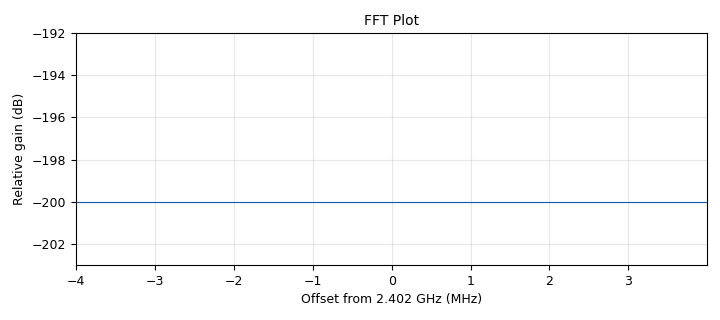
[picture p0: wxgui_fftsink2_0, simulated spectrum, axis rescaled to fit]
<?xml version='1.0' encoding='utf-8'?>
<?grc format='1' created='3.7.12'?>
<flow_graph>
<block>
<key>options</key>
<param><key>id</key><value>top_block</value></param>
<param><key>generate_options</key><value>wx_gui</value></param>
</block>
<block>
<key>variable</key>
<param><key>id</key><value>baud_rate</value></param>
<param><key>value</key><value>1e6</value></param>
</block>
<block>
<key>variable</key>
<param><key>id</key><value>center_freq</value></param>
<param><key>value</key><value>2.402e9</value></param>
</block>
<block>
<key>variable</key>
<param><key>id</key><value>samp_rate</value></param>
<param><key>value</key><value>8e6</value></param>
</block>
<block>
<key>variable</key>
<param><key>id</key><value>sps</value></param>
<param><key>value</key><value>10</value></param>
</block>
<block>
<key>blocks_delay</key>
<param><key>id</key><value>blocks_delay_0</value></param>
<param><key>delay</key><value>15</value></param>
<param><key>_enabled</key><value>2</value></param>
<param><key>type</key><value>complex</value></param>
</block>
<block>
<key>blocks_file_sink</key>
<param><key>id</key><value>blocks_file_sink_0</value></param>
<param><key>_enabled</key><value>0</value></param>
<param><key>file</key><value>fakeX_lionel_8M_2G4.dat</value></param>
<param><key>type</key><value>complex</value></param>
</block>
<block>
<key>blocks_float_to_complex</key>
<param><key>id</key><value>blocks_float_to_complex_0</value></param>
</block>
<block>
<key>blocks_multiply_const_vxx</key>
<param><key>id</key><value>blocks_multiply_const_vxx_0</value></param>
<param><key>const</key><value>.8</value></param>
<param><key>type</key><value>complex</value></param>
</block>
<block>
<key>blocks_multiply_xx</key>
<param><key>id</key><value>blocks_multiply_xx_0</value></param>
<param><key>type</key><value>complex</value></param>
</block>
<block>
<key>blocks_packed_to_unpacked_xx</key>
<param><key>id</key><value>blocks_packed_to_unpacked_xx_0</value></param>
<param><key>bits_per_chunk</key><value>1</value></param>
<param><key>endianness</key><value>gr.GR_MSB_FIRST</value></param>
<param><key>type</key><value>byte</value></param>
</block>
<block>
<key>blocks_repeat</key>
<param><key>id</key><value>blocks_repeat_0</value></param>
<param><key>interp</key><value>sps</value></param>
<param><key>type</key><value>byte</value></param>
</block>
<block>
<key>blocks_throttle</key>
<param><key>id</key><value>blocks_throttle_0</value></param>
<param><key>_enabled</key><value>2</value></param>
<param><key>samples_per_second</key><value>samp_rate</value></param>
<param><key>type</key><value>complex</value></param>
</block>
<block>
<key>blocks_uchar_to_float</key>
<param><key>id</key><value>blocks_uchar_to_float_0</value></param>
</block>
<block>
<key>blocks_vector_source_x</key>
<param><key>id</key><value>blocks_vector_source_x_0</value></param>
<param><key>type</key><value>byte</value></param>
<param><key>repeat</key><value>True</value></param>
<param><key>vector</key><value>(
0x55,0x11,0x27,0x21,0x94,0x2A,0x1B,0x95,0x51,0x00,0x00,0x7F,0xFF,0xB7,0xE1,0x5B,0x4A,0x75,0x47,0x2D,0x76,0x14,0xAA,0xBA,0xA2,0xF5,0x55,0x55,0x55,0x55,0x56,0xD6,0x22,0x4E,0x43,0x28,0x54,0x06,
0x00,0x00,0x00,0x00,0x00,0x00,0x00,0x00,0x00,0x00,0x00,0x00,0x00,0x00,0x00,0x00,0x00,0x00,0x00,0x00,0x00,0x00,0x00,0x00,0x00,0x00,0x00,0x00,0x00,0x00,0x00,0x00,0x00,0x00,0x00,0x00,0x00,
0x00,0x00,0x00,0x00,0x00,0x00,0x00,0x00,0x00,0x00,0x00,0x00,0x00,0x00,0x00,0x00,0x00,0x00,0x00,0x00,0x00,0x00,0x00,0x00,0x00,0x00,0x00,0x00,0x00,0x00,0x00,0x00,0x00,0x00,0x00,0x00,0x00,
0x00,0x00,0x00,0x00,0x00,0x00,0x00,0x00,0x00,0x00,0x00,0x00,0x00,0x00,0x00,0x00,0x00,0x00,0x00,0x00,0x00,0x00,0x00,0x00,0x00,0x00,0x00,0x00,0x00,0x00,0x00,0x00,0x00,0x00,0x00,0x00,0x00,
0x00,0x00,0x00,0x00,0x00,0x00,0x00,0x00,0x00,0x00,0x00,0x00,0x00,0x00,0x00,0x00,0x00,0x00,0x00,0x00,0x00,0x00,0x00,0x00,0x00,0x00,0x00,0x00,0x00,0x00,0x00,0x00,0x00,0x00,0x00,0x00,0x00,
0x00,0x00,0x00,0x00,0x00,0x00,0x00,0x00,0x00,0x00,0x00,0x00,0x00,0x00,0x00,0x00,0x00,0x00,0x00,0x00,0x00,0x00,0x00,0x00,0x00,0x00,0x00,0x00,0x00,0x00,0x00,0x00,0x00,0x00,0x00,0x00,0x00,
0x00,0x00,0x00,0x00,0x00,0x00,0x00,0x00,0x00,0x00,0x00,0x00,0x00,0x00,0x00,0x00,0x00,0x00,0x00,0x00,0x00,0x00,0x00,0x00,0x00,0x00,0x00,0x00,0x00,0x00,0x00,0x00,0x00,0x00,0x00,0x00,0x00,
0x00,0x00,0x00,0x00,0x00,0x00,0x00,0x00,0x00,0x00,0x00,0x00,0x00,0x00,0x00,0x00,0x00,0x00,0x00,0x00,0x00,0x00,0x00,0x00,0x00,0x00,0x00,0x00,0x00,0x00,0x00,0x00,0x00,0x00,0x00,0x00,0x00,
0x00,0x00,0x00,0x00,0x00,0x00,0x00,0x00,0x00,0x00,0x00,0x00,0x00,0x00,0x00,0x00,0x00,0x00,0x00,0x00,0x00,0x00,0x00,0x00,0x00,0x00,0x00,0x00,0x00,0x00,0x00,0x00,0x00,0x00,0x00,0x00,0x00,
0x00,0x00,0x00,0x00,0x00,0x00,0x00,0x00,0x00,0x00,0x00,0x00,0x00,0x00,0x00,0x00,0x00,0x00,0x00,0x00,0x00,0x00,0x00,0x00,0x00,0x00,0x00,0x00,0x00,0x00,0x00,0x00,0x00,0x00,0x00,0x00,0x00,
0x00,0x00,0x00,0x00,0x00,0x00,0x00,0x00,0x00,0x00,0x00,0x00,0x00,0x00,0x00,0x00,0x00,0x00,0x00,0x00,0x00,0x00,0x00,0x00,0x00,0x00,0x00,0x00,0x00,0x00,0x00,0x00,0x00,0x00,0x00,0x00,0x00,
0x00,0x00,0x00,0x00,0x00,0x00,0x00,0x00,0x00,0x00,0x00,0x00,0x00,0x00,0x00,0x00,0x00,0x00,0x00,0x00,0x00,0x00,0x00,0x00,0x00,0x00,0x00,0x00,0x00,0x00,0x00,0x00,0x00,0x00,0x00,0x00,0x00,
0x00,0x00,0x00,0x00,0x00,0x00,0x00,0x00,0x00,0x00,0x00,0x00,0x00,0x00,0x00,0x00,0x00,0x00,0x00,0x00,0x00,0x00,0x00,0x00,0x00,0x00,0x00,0x00,0x00,0x00,0x00,0x00,0x00,0x00,0x00,0x00,0x00,
0x55,0x11,0x27,0x21,0x94,0x2A,0x18,0x95,0x51,0x02,0x80,0x7D,0x7F,0xC6,0xAB,0xB5,0x5D,0x6C,0x9C,0x2A,0xAA,0x92,0xC5,0x55,0x35,0xD0,0x55,0x55,0x55,0x55,0x7D,0xFC,0x44,0x9C,0x86,0x50,0xA8,0x00,

0x00,0x00,0x00,0x00,0x00,0x00,0x00,0x00,0x00,0x00,0x00,0x00,0x00,0x00,0x00,0x00,0x00,0x00,0x00,0x00,0x00,0x00,0x00,0x00,0x00,0x00,0x00,0x00,0x00,0x00,0x00,0x00,0x00,0x00,0x00,0x00,0x00,
0x00,0x00,0x00,0x00,0x00,0x00,0x00,0x00,0x00,0x00,0x00,0x00,0x00,0x00,0x00,0x00,0x00,0x00,0x00,0x00,0x00,0x00,0x00,0x00,0x00,0x00,0x00,0x00,0x00,0x00,0x00,0x00,0x00,0x00,0x00,0x00,0x00,
0x00,0x00,0x00,0x00,0x00,0x00,0x00,0x00,0x00,0x00,0x00,0x00,0x00,0x00,0x00,0x00,0x00,0x00,0x00,0x00,0x00,0x00,0x00,0x00,0x00,0x00,0x00,0x00,0x00,0x00,0x00,0x00,0x00,0x00,0x00,0x00,0x00,
0x00,0x00,0x00,0x00,0x00,0x00,0x00,0x00,0x00,0x00,0x00,0x00,0x00,0x00,0x00,0x00,0x00,0x00,0x00,0x00,0x00,0x00,0x00,0x00,0x00,0x00,0x00,0x00,0x00,0x00,0x00,0x00,0x00,0x00,0x00,0x00,0x00,
0x00,0x00,0x00,0x00,0x00,0x00,0x00,0x00,0x00,0x00,0x00,0x00,0x00,0x00,0x00,0x00,0x00,0x00,0x00,0x00,0x00,0x00,0x00,0x00,0x00,0x00,0x00,0x00,0x00,0x00,0x00,0x00,0x00,0x00,0x00,0x00,0x00,
0x00,0x00,0x00,0x00,0x00,0x00,0x00,0x00,0x00,0x00,0x00,0x00,0x00,0x00,0x00,0x00,0x00,0x00,0x00,0x00,0x00,0x00,0x00,0x00,0x00,0x00,0x00,0x00,0x00,0x00,0x00,0x00,0x00,0x00,0x00,0x00,0x00,
0x00,0x00,0x00,0x00,0x00,0x00,0x00,0x00,0x00,0x00,0x00,0x00,0x00,0x00,0x00,0x00,0x00,0x00,0x00,0x00,0x00,0x00,0x00,0x00,0x00,0x00,0x00,0x00,0x00,0x00,0x00,0x00,0x00,0x00,0x00,0x00,0x00,
0x00,0x00,0x00,0x00,0x00,0x00,0x00,0x00,0x00,0x00,0x00,0x00,0x00,0x00,0x00,0x00,0x00,0x00,0x00,0x00,0x00,0x00,0x00,0x00,0x00,0x00,0x00,0x00,0x00,0x00,0x00,0x00,0x00,0x00,0x00,0x00,0x00,
0x00,0x00,0x00,0x00,0x00,0x00,0x00,0x00,0x00,0x00,0x00,0x00,0x00,0x00,0x00,0x00,0x00,0x00,0x00,0x00,0x00,0x00,0x00,0x00,0x00,0x00,0x00,0x00,0x00,0x00,0x00,0x00,0x00,0x00,0x00,0x00,0x00,
0x00,0x00,0x00,0x00,0x00,0x00,0x00,0x00,0x00,0x00,0x00,0x00,0x00,0x00,0x00,0x00,0x00,0x00,0x00,0x00,0x00,0x00,0x00,0x00,0x00,0x00,0x00,0x00,0x00,0x00,0x00,0x00,0x00,0x00,0x00,0x00,0x00,
0x00,0x00,0x00,0x00,0x00,0x00,0x00,0x00,0x00,0x00,0x00,0x00,0x00,0x00,0x00,0x00,0x00,0x00,0x00,0x00,0x00,0x00,0x00,0x00,0x00,0x00,0x00,0x00,0x00,0x00,0x00,0x00,0x00,0x00,0x00,0x00,0x00,
0x00,0x00,0x00,0x00,0x00,0x00,0x00,0x00,0x00,0x00,0x00,0x00,0x00,0x00,0x00,0x00,0x00,0x00,0x00,0x00,0x00,0x00,0x00,0x00,0x00,0x00,0x00,0x00,0x00,0x00,0x00,0x00,0x00,0x00,0x00,0x00,0x00,
0x00,0x00,0x00,0x00,0x00,0x00,0x00,0x00,0x00,0x00,0x00,0x00,0x00,0x00,0x00,0x00,0x00,0x00,0x00,0x00,0x00,0x00,0x00,0x00,0x00,0x00,0x00,0x00,0x00,0x00,0x00,0x00,0x00,0x00,0x00,0x00,0x00,
0x00,0x00,0x00,0x00,0x00,0x00,0x00,0x00,0x00,0x00,0x00,0x00,0x00,0x00,0x00,0x00,0x00,0x00,0x00,0x00,0x00,0x00,0x00,0x00,0x00,0x00,0x00,0x00,0x00,0x00,0x00,0x00,0x00,0x00,0x00,0x00,0x00,
0x00,0x00,0x00,0x00,0x00,0x00,0x00,0x00,0x00,0x00,0x00,0x00,0x00,0x00,0x00,0x00,0x00,0x00,0x00,0x00,0x00,0x00,0x00,0x00,0x00,0x00,0x00,0x00,0x00,0x00,0x00,0x00,0x00,0x00,0x00,0x00,0x00,
0x00,0x00,0x00,0x00,0x00,0x00,0x00,0x00,0x00,0x00,0x00,0x00,0x00,0x00,0x00,0x00,0x00,0x00,0x00,0x00,0x00,0x00,0x00,0x00,0x00,0x00,0x00,0x00,0x00,0x00,0x00,0x00,0x00,0x00,0x00,0x00,0x00,
0x00,0x00,0x00,0x00,0x00,0x00,0x00,0x00,0x00,0x00,0x00,0x00,0x00,0x00,0x00,0x00,0x00,0x00,0x00,0x00,0x00,0x00,0x00,0x00,0x00,0x00,0x00,0x00,0x00,0x00,0x00,0x00,0x00,0x00,0x00,0x00,0x00,
0x00,0x00,0x00,0x00,0x00,0x00,0x00,0x00,0x00,0x00,0x00,0x00,0x00,0x00,0x00,0x00,0x00,0x00,0x00,0x00,0x00,0x00,0x00,0x00,0x00,0x00,0x00,0x00,0x00,0x00,0x00,0x00,0x00,0x00,0x00,0x00,0x00,
0x00,0x00,0x00,0x00,0x00,0x00,0x00,0x00,0x00,0x00,0x00,0x00,0x00,0x00,0x00,0x00,0x00,0x00,0x00,0x00,0x00,0x00,0x00,0x00,0x00,0x00,0x00,0x00,0x00,0x00,0x00,0x00,0x00,0x00,0x00,0x00,0x00,
0x00,0x00,0x00,0x00,0x00,0x00,0x00,0x00,0x00,0x00,0x00,0x00,0x00,0x00,0x00,0x00,0x00,0x00,0x00,0x00,0x00,0x00,0x00,0x00,0x00,0x00,0x00,0x00,0x00,0x00,0x00,0x00,0x00,0x00,0x00,0x00,0x00,
0x00,0x00,0x00,0x00,0x00,0x00,0x00,0x00,0x00,0x00,0x00,0x00,0x00,0x00,0x00,0x00,0x00,0x00,0x00,0x00,0x00,0x00,0x00,0x00,0x00,0x00,0x00,0x00,0x00,0x00,0x00,0x00,0x00,0x00,0x00,0x00,0x00,
0x00,0x00,0x00,0x00,0x00,0x00,0x00,0x00,0x00,0x00,0x00,0x00,0x00,0x00,0x00,0x00,0x00,0x00,0x00,0x00,0x00,0x00,0x00,0x00,0x00,0x00,0x00,0x00,0x00,0x00,0x00,0x00,0x00,0x00,0x00,0x00,0x00,
0x00,0x00,0x00,0x00,0x00,0x00,0x00,0x00,0x00,0x00,0x00,0x00,0x00,0x00,0x00,0x00,0x00,0x00,0x00,0x00,0x00,0x00,0x00,0x00,0x00,0x00,0x00,0x00,0x00,0x00,0x00,0x00,0x00,0x00,0x00,0x00,0x00,
)
</value></param>
</block>
<block>
<key>blocks_vector_source_x</key>
<param><key>id</key><value>blocks_vector_source_x_1</value></param>
<param><key>type</key><value>byte</value></param>
<param><key>repeat</key><value>True</value></param>
<param><key>vector</key><value>(
0xff,0xff,0xff,0xff,0xff,0xff,0xff,0xff,0xff,0xff,0xff,0xff,0xff,0xff,0xff,0xff,0xff,0xff,0xff,0xff,0xff,0xff,0xff,0xff,0xff,0xff,0xff,0xff,0xff,0xff,0xff,0xff,0xff,0xff,0xff,0xff,0xff,0xff,
0x00,0x00,0x00,0x00,0x00,0x00,0x00,0x00,0x00,0x00,0x00,0x00,0x00,0x00,0x00,0x00,0x00,0x00,0x00,0x00,0x00,0x00,0x00,0x00,0x00,0x00,0x00,0x00,0x00,0x00,0x00,0x00,0x00,0x00,0x00,0x00,0x00,
0x00,0x00,0x00,0x00,0x00,0x00,0x00,0x00,0x00,0x00,0x00,0x00,0x00,0x00,0x00,0x00,0x00,0x00,0x00,0x00,0x00,0x00,0x00,0x00,0x00,0x00,0x00,0x00,0x00,0x00,0x00,0x00,0x00,0x00,0x00,0x00,0x00,
0x00,0x00,0x00,0x00,0x00,0x00,0x00,0x00,0x00,0x00,0x00,0x00,0x00,0x00,0x00,0x00,0x00,0x00,0x00,0x00,0x00,0x00,0x00,0x00,0x00,0x00,0x00,0x00,0x00,0x00,0x00,0x00,0x00,0x00,0x00,0x00,0x00,
0x00,0x00,0x00,0x00,0x00,0x00,0x00,0x00,0x00,0x00,0x00,0x00,0x00,0x00,0x00,0x00,0x00,0x00,0x00,0x00,0x00,0x00,0x00,0x00,0x00,0x00,0x00,0x00,0x00,0x00,0x00,0x00,0x00,0x00,0x00,0x00,0x00,
0x00,0x00,0x00,0x00,0x00,0x00,0x00,0x00,0x00,0x00,0x00,0x00,0x00,0x00,0x00,0x00,0x00,0x00,0x00,0x00,0x00,0x00,0x00,0x00,0x00,0x00,0x00,0x00,0x00,0x00,0x00,0x00,0x00,0x00,0x00,0x00,0x00,
0x00,0x00,0x00,0x00,0x00,0x00,0x00,0x00,0x00,0x00,0x00,0x00,0x00,0x00,0x00,0x00,0x00,0x00,0x00,0x00,0x00,0x00,0x00,0x00,0x00,0x00,0x00,0x00,0x00,0x00,0x00,0x00,0x00,0x00,0x00,0x00,0x00,
0x00,0x00,0x00,0x00,0x00,0x00,0x00,0x00,0x00,0x00,0x00,0x00,0x00,0x00,0x00,0x00,0x00,0x00,0x00,0x00,0x00,0x00,0x00,0x00,0x00,0x00,0x00,0x00,0x00,0x00,0x00,0x00,0x00,0x00,0x00,0x00,0x00,
0x00,0x00,0x00,0x00,0x00,0x00,0x00,0x00,0x00,0x00,0x00,0x00,0x00,0x00,0x00,0x00,0x00,0x00,0x00,0x00,0x00,0x00,0x00,0x00,0x00,0x00,0x00,0x00,0x00,0x00,0x00,0x00,0x00,0x00,0x00,0x00,0x00,
0x00,0x00,0x00,0x00,0x00,0x00,0x00,0x00,0x00,0x00,0x00,0x00,0x00,0x00,0x00,0x00,0x00,0x00,0x00,0x00,0x00,0x00,0x00,0x00,0x00,0x00,0x00,0x00,0x00,0x00,0x00,0x00,0x00,0x00,0x00,0x00,0x00,
0x00,0x00,0x00,0x00,0x00,0x00,0x00,0x00,0x00,0x00,0x00,0x00,0x00,0x00,0x00,0x00,0x00,0x00,0x00,0x00,0x00,0x00,0x00,0x00,0x00,0x00,0x00,0x00,0x00,0x00,0x00,0x00,0x00,0x00,0x00,0x00,0x00,
0x00,0x00,0x00,0x00,0x00,0x00,0x00,0x00,0x00,0x00,0x00,0x00,0x00,0x00,0x00,0x00,0x00,0x00,0x00,0x00,0x00,0x00,0x00,0x00,0x00,0x00,0x00,0x00,0x00,0x00,0x00,0x00,0x00,0x00,0x00,0x00,0x00,
0x00,0x00,0x00,0x00,0x00,0x00,0x00,0x00,0x00,0x00,0x00,0x00,0x00,0x00,0x00,0x00,0x00,0x00,0x00,0x00,0x00,0x00,0x00,0x00,0x00,0x00,0x00,0x00,0x00,0x00,0x00,0x00,0x00,0x00,0x00,0x00,0x00,
0xff,0xff,0xff,0xff,0xff,0xff,0xff,0xff,0xff,0xff,0xff,0xff,0xff,0xff,0xff,0xff,0xff,0xff,0xff,0xff,0xff,0xff,0xff,0xff,0xff,0xff,0xff,0xff,0xff,0xff,0xff,0xff,0xff,0xff,0xff,0xff,0xff,0xff,

0x00,0x00,0x00,0x00,0x00,0x00,0x00,0x00,0x00,0x00,0x00,0x00,0x00,0x00,0x00,0x00,0x00,0x00,0x00,0x00,0x00,0x00,0x00,0x00,0x00,0x00,0x00,0x00,0x00,0x00,0x00,0x00,0x00,0x00,0x00,0x00,0x00,
0x00,0x00,0x00,0x00,0x00,0x00,0x00,0x00,0x00,0x00,0x00,0x00,0x00,0x00,0x00,0x00,0x00,0x00,0x00,0x00,0x00,0x00,0x00,0x00,0x00,0x00,0x00,0x00,0x00,0x00,0x00,0x00,0x00,0x00,0x00,0x00,0x00,
0x00,0x00,0x00,0x00,0x00,0x00,0x00,0x00,0x00,0x00,0x00,0x00,0x00,0x00,0x00,0x00,0x00,0x00,0x00,0x00,0x00,0x00,0x00,0x00,0x00,0x00,0x00,0x00,0x00,0x00,0x00,0x00,0x00,0x00,0x00,0x00,0x00,
0x00,0x00,0x00,0x00,0x00,0x00,0x00,0x00,0x00,0x00,0x00,0x00,0x00,0x00,0x00,0x00,0x00,0x00,0x00,0x00,0x00,0x00,0x00,0x00,0x00,0x00,0x00,0x00,0x00,0x00,0x00,0x00,0x00,0x00,0x00,0x00,0x00,
0x00,0x00,0x00,0x00,0x00,0x00,0x00,0x00,0x00,0x00,0x00,0x00,0x00,0x00,0x00,0x00,0x00,0x00,0x00,0x00,0x00,0x00,0x00,0x00,0x00,0x00,0x00,0x00,0x00,0x00,0x00,0x00,0x00,0x00,0x00,0x00,0x00,
0x00,0x00,0x00,0x00,0x00,0x00,0x00,0x00,0x00,0x00,0x00,0x00,0x00,0x00,0x00,0x00,0x00,0x00,0x00,0x00,0x00,0x00,0x00,0x00,0x00,0x00,0x00,0x00,0x00,0x00,0x00,0x00,0x00,0x00,0x00,0x00,0x00,
0x00,0x00,0x00,0x00,0x00,0x00,0x00,0x00,0x00,0x00,0x00,0x00,0x00,0x00,0x00,0x00,0x00,0x00,0x00,0x00,0x00,0x00,0x00,0x00,0x00,0x00,0x00,0x00,0x00,0x00,0x00,0x00,0x00,0x00,0x00,0x00,0x00,
0x00,0x00,0x00,0x00,0x00,0x00,0x00,0x00,0x00,0x00,0x00,0x00,0x00,0x00,0x00,0x00,0x00,0x00,0x00,0x00,0x00,0x00,0x00,0x00,0x00,0x00,0x00,0x00,0x00,0x00,0x00,0x00,0x00,0x00,0x00,0x00,0x00,
0x00,0x00,0x00,0x00,0x00,0x00,0x00,0x00,0x00,0x00,0x00,0x00,0x00,0x00,0x00,0x00,0x00,0x00,0x00,0x00,0x00,0x00,0x00,0x00,0x00,0x00,0x00,0x00,0x00,0x00,0x00,0x00,0x00,0x00,0x00,0x00,0x00,
0x00,0x00,0x00,0x00,0x00,0x00,0x00,0x00,0x00,0x00,0x00,0x00,0x00,0x00,0x00,0x00,0x00,0x00,0x00,0x00,0x00,0x00,0x00,0x00,0x00,0x00,0x00,0x00,0x00,0x00,0x00,0x00,0x00,0x00,0x00,0x00,0x00,
0x00,0x00,0x00,0x00,0x00,0x00,0x00,0x00,0x00,0x00,0x00,0x00,0x00,0x00,0x00,0x00,0x00,0x00,0x00,0x00,0x00,0x00,0x00,0x00,0x00,0x00,0x00,0x00,0x00,0x00,0x00,0x00,0x00,0x00,0x00,0x00,0x00,
0x00,0x00,0x00,0x00,0x00,0x00,0x00,0x00,0x00,0x00,0x00,0x00,0x00,0x00,0x00,0x00,0x00,0x00,0x00,0x00,0x00,0x00,0x00,0x00,0x00,0x00,0x00,0x00,0x00,0x00,0x00,0x00,0x00,0x00,0x00,0x00,0x00,
0x00,0x00,0x00,0x00,0x00,0x00,0x00,0x00,0x00,0x00,0x00,0x00,0x00,0x00,0x00,0x00,0x00,0x00,0x00,0x00,0x00,0x00,0x00,0x00,0x00,0x00,0x00,0x00,0x00,0x00,0x00,0x00,0x00,0x00,0x00,0x00,0x00,
0x00,0x00,0x00,0x00,0x00,0x00,0x00,0x00,0x00,0x00,0x00,0x00,0x00,0x00,0x00,0x00,0x00,0x00,0x00,0x00,0x00,0x00,0x00,0x00,0x00,0x00,0x00,0x00,0x00,0x00,0x00,0x00,0x00,0x00,0x00,0x00,0x00,
0x00,0x00,0x00,0x00,0x00,0x00,0x00,0x00,0x00,0x00,0x00,0x00,0x00,0x00,0x00,0x00,0x00,0x00,0x00,0x00,0x00,0x00,0x00,0x00,0x00,0x00,0x00,0x00,0x00,0x00,0x00,0x00,0x00,0x00,0x00,0x00,0x00,
0x00,0x00,0x00,0x00,0x00,0x00,0x00,0x00,0x00,0x00,0x00,0x00,0x00,0x00,0x00,0x00,0x00,0x00,0x00,0x00,0x00,0x00,0x00,0x00,0x00,0x00,0x00,0x00,0x00,0x00,0x00,0x00,0x00,0x00,0x00,0x00,0x00,
0x00,0x00,0x00,0x00,0x00,0x00,0x00,0x00,0x00,0x00,0x00,0x00,0x00,0x00,0x00,0x00,0x00,0x00,0x00,0x00,0x00,0x00,0x00,0x00,0x00,0x00,0x00,0x00,0x00,0x00,0x00,0x00,0x00,0x00,0x00,0x00,0x00,
0x00,0x00,0x00,0x00,0x00,0x00,0x00,0x00,0x00,0x00,0x00,0x00,0x00,0x00,0x00,0x00,0x00,0x00,0x00,0x00,0x00,0x00,0x00,0x00,0x00,0x00,0x00,0x00,0x00,0x00,0x00,0x00,0x00,0x00,0x00,0x00,0x00,
0x00,0x00,0x00,0x00,0x00,0x00,0x00,0x00,0x00,0x00,0x00,0x00,0x00,0x00,0x00,0x00,0x00,0x00,0x00,0x00,0x00,0x00,0x00,0x00,0x00,0x00,0x00,0x00,0x00,0x00,0x00,0x00,0x00,0x00,0x00,0x00,0x00,
0x00,0x00,0x00,0x00,0x00,0x00,0x00,0x00,0x00,0x00,0x00,0x00,0x00,0x00,0x00,0x00,0x00,0x00,0x00,0x00,0x00,0x00,0x00,0x00,0x00,0x00,0x00,0x00,0x00,0x00,0x00,0x00,0x00,0x00,0x00,0x00,0x00,
0x00,0x00,0x00,0x00,0x00,0x00,0x00,0x00,0x00,0x00,0x00,0x00,0x00,0x00,0x00,0x00,0x00,0x00,0x00,0x00,0x00,0x00,0x00,0x00,0x00,0x00,0x00,0x00,0x00,0x00,0x00,0x00,0x00,0x00,0x00,0x00,0x00,
0x00,0x00,0x00,0x00,0x00,0x00,0x00,0x00,0x00,0x00,0x00,0x00,0x00,0x00,0x00,0x00,0x00,0x00,0x00,0x00,0x00,0x00,0x00,0x00,0x00,0x00,0x00,0x00,0x00,0x00,0x00,0x00,0x00,0x00,0x00,0x00,0x00,
0x00,0x00,0x00,0x00,0x00,0x00,0x00,0x00,0x00,0x00,0x00,0x00,0x00,0x00,0x00,0x00,0x00,0x00,0x00,0x00,0x00,0x00,0x00,0x00,0x00,0x00,0x00,0x00,0x00,0x00,0x00,0x00,0x00,0x00,0x00,0x00,0x00,
)
</value></param>
</block>
<block>
<key>digital_gfsk_mod</key>
<param><key>id</key><value>digital_gfsk_mod_0</value></param>
<param><key>bt</key><value>.5</value></param>
<param><key>samples_per_symbol</key><value>sps</value></param>
<param><key>sensitivity</key><value>.4</value></param>
</block>
<block>
<key>osmosdr_sink</key>
<param><key>id</key><value>osmosdr_sink_0</value></param>
<param><key>bb_gain0</key><value>20</value></param>
<param><key>bw0</key><value>samp_rate</value></param>
<param><key>freq0</key><value>center_freq</value></param>
<param><key>if_gain0</key><value>40</value></param>
<param><key>gain0</key><value>0</value></param>
<param><key>args</key><value></value></param>
<param><key>type</key><value>fc32</value></param>
<param><key>sample_rate</key><value>samp_rate</value></param>
<param><key>sync</key><value></value></param>
</block>
<block>
<key>rational_resampler_xxx</key>
<param><key>id</key><value>rational_resampler_xxx_0</value></param>
<param><key>decim</key><value>int(baud_rate*sps)</value></param>
<param><key>interp</key><value>int(samp_rate)</value></param>
<param><key>taps</key><value></value></param>
<param><key>type</key><value>ccc</value></param>
</block>
<block>
<key>wxgui_fftsink2</key>
<param><key>id</key><value>wxgui_fftsink2_0</value></param>
<param><key>avg_alpha</key><value>0</value></param>
<param><key>average</key><value>False</value></param>
<param><key>baseband_freq</key><value>center_freq</value></param>
<param><key>fft_size</key><value>1024</value></param>
<param><key>freqvar</key><value>None</value></param>
<param><key>peak_hold</key><value>False</value></param>
<param><key>ref_level</key><value>0</value></param>
<param><key>ref_scale</key><value>2.0</value></param>
<param><key>fft_rate</key><value>15</value></param>
<param><key>samp_rate</key><value>samp_rate</value></param>
<param><key>title</key><value>FFT Plot</value></param>
<param><key>type</key><value>complex</value></param>
<param><key>win</key><value>None</value></param>
<param><key>y_divs</key><value>10</value></param>
<param><key>y_per_div</key><value>10</value></param>
</block>
<connection><source_block_id>blocks_delay_0</source_block_id><sink_block_id>blocks_multiply_xx_0</sink_block_id><source_key>0</source_key><sink_key>1</sink_key></connection>
<connection><source_block_id>blocks_float_to_complex_0</source_block_id><sink_block_id>blocks_delay_0</sink_block_id><source_key>0</source_key><sink_key>0</sink_key></connection>
<connection><source_block_id>blocks_multiply_const_vxx_0</source_block_id><sink_block_id>rational_resampler_xxx_0</sink_block_id><source_key>0</source_key><sink_key>0</sink_key></connection>
<connection><source_block_id>blocks_multiply_xx_0</source_block_id><sink_block_id>blocks_multiply_const_vxx_0</sink_block_id><source_key>0</source_key><sink_key>0</sink_key></connection>
<connection><source_block_id>blocks_packed_to_unpacked_xx_0</source_block_id><sink_block_id>blocks_repeat_0</sink_block_id><source_key>0</source_key><sink_key>0</sink_key></connection>
<connection><source_block_id>blocks_repeat_0</source_block_id><sink_block_id>blocks_uchar_to_float_0</sink_block_id><source_key>0</source_key><sink_key>0</sink_key></connection>
<connection><source_block_id>blocks_throttle_0</source_block_id><sink_block_id>blocks_file_sink_0</sink_block_id><source_key>0</source_key><sink_key>0</sink_key></connection>
<connection><source_block_id>blocks_throttle_0</source_block_id><sink_block_id>wxgui_fftsink2_0</sink_block_id><source_key>0</source_key><sink_key>0</sink_key></connection>
<connection><source_block_id>blocks_uchar_to_float_0</source_block_id><sink_block_id>blocks_float_to_complex_0</sink_block_id><source_key>0</source_key><sink_key>0</sink_key></connection>
<connection><source_block_id>blocks_vector_source_x_0</source_block_id><sink_block_id>digital_gfsk_mod_0</sink_block_id><source_key>0</source_key><sink_key>0</sink_key></connection>
<connection><source_block_id>blocks_vector_source_x_1</source_block_id><sink_block_id>blocks_packed_to_unpacked_xx_0</sink_block_id><source_key>0</source_key><sink_key>0</sink_key></connection>
<connection><source_block_id>digital_gfsk_mod_0</source_block_id><sink_block_id>blocks_multiply_xx_0</sink_block_id><source_key>0</source_key><sink_key>0</sink_key></connection>
<connection><source_block_id>rational_resampler_xxx_0</source_block_id><sink_block_id>blocks_throttle_0</sink_block_id><source_key>0</source_key><sink_key>0</sink_key></connection>
<connection><source_block_id>rational_resampler_xxx_0</source_block_id><sink_block_id>osmosdr_sink_0</sink_block_id><source_key>0</source_key><sink_key>0</sink_key></connection>
</flow_graph>
